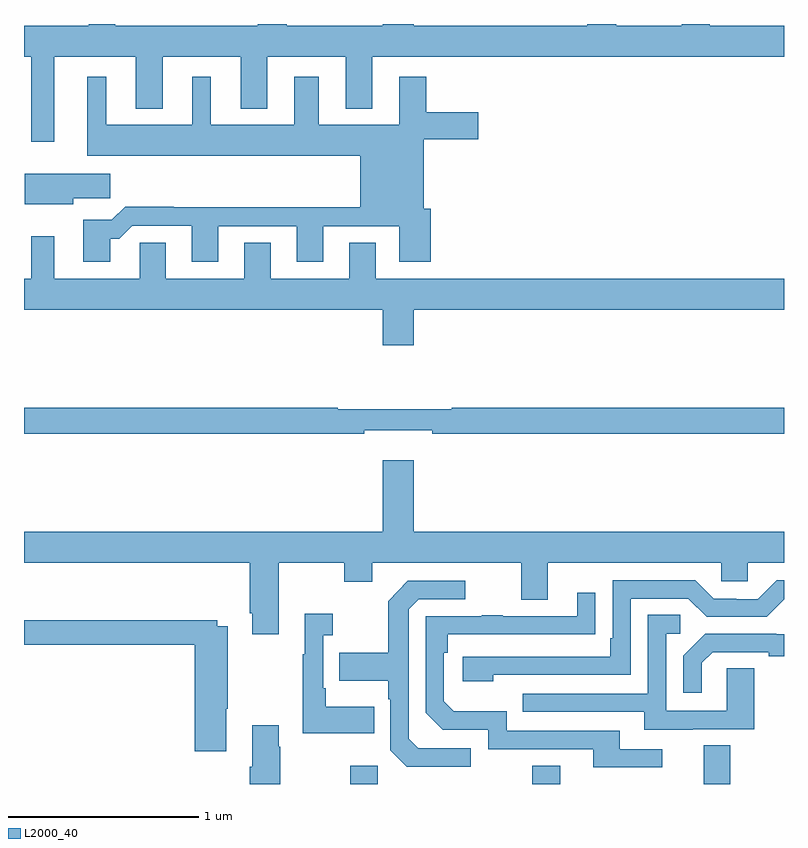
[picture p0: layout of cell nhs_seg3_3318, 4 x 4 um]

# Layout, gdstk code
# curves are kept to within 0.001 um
import gdstk
lib = gdstk.Library(unit=1e-6, precision=1e-09)
def R(c, l, rs):  # rectangles x0, y0, x1, y1
    for r in rs: c.add(gdstk.rectangle(r[:2], r[2:], *l))
def P(c, l, *ps):  # polygons
    for p in ps: c.add(gdstk.Polygon(p, *l))
L2000_40 = (2000, 40)

nhs_seg3_3318 = lib.new_cell('nhs_seg3_3318')
R(nhs_seg3_3318, L2000_40, [(284.716,718.4,284.862,718.495), (285.676,718.4,285.823,718.495), (286.577,718.4,286.717,718.604)])
P(nhs_seg3_3318, L2000_40, [(283.479,722.4),(283.341,722.4),(283.341,722.392),(283,722.392),(283,722.228),(283.038,722.228),(283.038,721.779),(283.159,721.779),(283.159,722.228),(283.589,722.228),(283.589,721.955),(283.729,721.955),(283.729,722.228),(284.141,722.228),(284.141,721.955),(284.281,721.955),(284.281,722.228),(284.693,722.228),(284.693,721.955),(284.833,721.955),(284.833,722.228),(287,722.228),(287,722.392),(286.609,722.392),(286.609,722.4),(286.462,722.4),(286.462,722.392),(286.117,722.392),(286.117,722.4),(285.965,722.4),(285.965,722.392),(285.052,722.392),(285.052,722.4),(284.888,722.4),(284.888,722.392),(284.384,722.392),(284.384,722.4),(284.231,722.4),(284.231,722.392),(283.479,722.392)],
  [(283.453,721.271),(283.502,721.271),(283.569,721.338),(283.883,721.338),(283.883,721.149),(284.023,721.149),(284.023,721.335),(284.435,721.335),(284.435,721.149),(284.575,721.149),(284.575,721.335),(284.975,721.335),(284.975,721.149),(285.14,721.149),(285.14,721.428),(285.103,721.428),(285.103,721.793),(285.391,721.793),(285.391,721.935),(285.116,721.935),(285.116,722.122),(284.975,722.122),(284.975,721.87),(284.551,721.87),(284.551,722.122),(284.423,722.122),(284.423,721.87),(283.984,721.87),(283.984,722.122),(283.886,722.122),(283.886,721.87),(283.432,721.87),(283.432,722.122),(283.334,722.122),(283.334,721.706),(284.771,721.706),(284.771,721.436),(283.787,721.436),(283.787,721.439),(283.532,721.439),(283.462,721.369),(283.313,721.369),(283.313,721.149),(283.453,721.149)],
  [(283.258,721.483),(283.453,721.483),(283.453,721.612),(283.004,721.612),(283.004,721.451),(283.258,721.451)],
  [(285.052,720.896),(287,720.896),(287,721.06),(284.851,721.06),(284.851,721.25),(284.711,721.25),(284.711,721.06),(284.299,721.06),(284.299,721.25),(284.159,721.25),(284.159,721.06),(283.747,721.06),(283.747,721.25),(283.608,721.25),(283.608,721.06),(283.159,721.06),(283.159,721.282),(283.038,721.282),(283.038,721.06),(283,721.06),(283,720.896),(284.888,720.896),(284.888,720.708),(285.052,720.708)],
  [(284.792,720.263),(285.148,720.263),(285.148,720.244),(287,720.244),(287,720.38),(285.251,720.38),(285.251,720.373),(284.651,720.373),(284.651,720.38),(283,720.38),(283,720.244),(284.792,720.244)],
  [(284.341,719.564),(284.686,719.564),(284.686,719.465),(284.833,719.465),(284.833,719.564),(285.617,719.564),(285.617,719.37),(285.757,719.37),(285.757,719.564),(286.671,719.564),(286.671,719.466),(286.809,719.466),(286.809,719.564),(287,719.564),(287,719.728),(285.052,719.728),(285.052,720.103),(284.888,720.103),(284.888,719.728),(283,719.728),(283,719.564),(284.189,719.564),(284.189,719.299),(284.201,719.299),(284.201,719.187),(284.341,719.187)],
  [(285.47,718.974),(286.194,718.974),(286.194,719.376),(286.497,719.376),(286.593,719.28),(286.908,719.28),(287,719.372),(287,719.473),(286.963,719.473),(286.863,719.373),(286.748,719.373),(286.748,719.376),(286.629,719.376),(286.533,719.472),(286.098,719.472),(286.098,719.167),(286.085,719.167),(286.085,719.07),(285.309,719.07),(285.309,718.94),(285.47,718.94)],
  [(285.352,718.587),(285.075,718.587),(285.024,718.638),(285.024,719.319),(285.078,719.373),(285.322,719.373),(285.322,719.469),(285.021,719.469),(284.916,719.363),(284.916,719.091),(284.659,719.091),(284.659,718.943),(284.916,718.943),(284.916,718.847),(284.928,718.847),(284.928,718.578),(285.015,718.491),(285.352,718.491)],
  [(286.36,718.584),(286.135,718.584),(286.135,718.68),(285.54,718.68),(285.54,718.783),(285.263,718.783),(285.21,718.836),(285.21,719.09),(285.23,719.09),(285.23,719.187),(286.007,719.188),(286.007,719.407),(285.911,719.407),(285.911,719.283),(285.521,719.283),(285.521,719.288),(285.409,719.288),(285.409,719.283),(285.114,719.283),(285.114,718.776),(285.204,718.686),(285.444,718.686),(285.444,718.584),(285.995,718.584),(285.995,718.488),(286.36,718.488)],
  [(284.843,718.807),(284.587,718.807),(284.587,718.903),(284.574,718.903),(284.574,719.183),(284.626,719.183),(284.626,719.296),(284.477,719.296),(284.477,719.083),(284.466,719.083),(284.466,718.667),(284.843,718.667)],
  [(286.519,718.689),(286.843,718.689),(286.843,719.009),(286.698,719.009),(286.698,718.785),(286.38,718.785),(286.38,719.19),(286.453,719.19),(286.453,719.291),(286.284,719.291),(286.284,718.875),(285.625,718.875),(285.625,718.779),(286.265,718.779),(286.265,718.685),(286.519,718.685)],
  [(284.065,718.795),(284.073,718.795),(284.073,719.23),(284.016,719.23),(284.016,719.263),(283,719.263),(283,719.134),(283.898,719.134),(283.898,718.572),(284.065,718.572)],
  [(286.567,719.037),(286.624,719.094),(286.919,719.094),(286.919,719.072),(287,719.072),(287,719.187),(286.958,719.187),(286.958,719.19),(286.586,719.19),(286.47,719.074),(286.47,718.881),(286.567,718.881)],
  [(284.349,718.595),(284.341,718.595),(284.341,718.708),(284.201,718.708),(284.201,718.492),(284.189,718.492),(284.189,718.4),(284.349,718.4)])

lib.write_gds('nhs_seg3_3318.gds')
